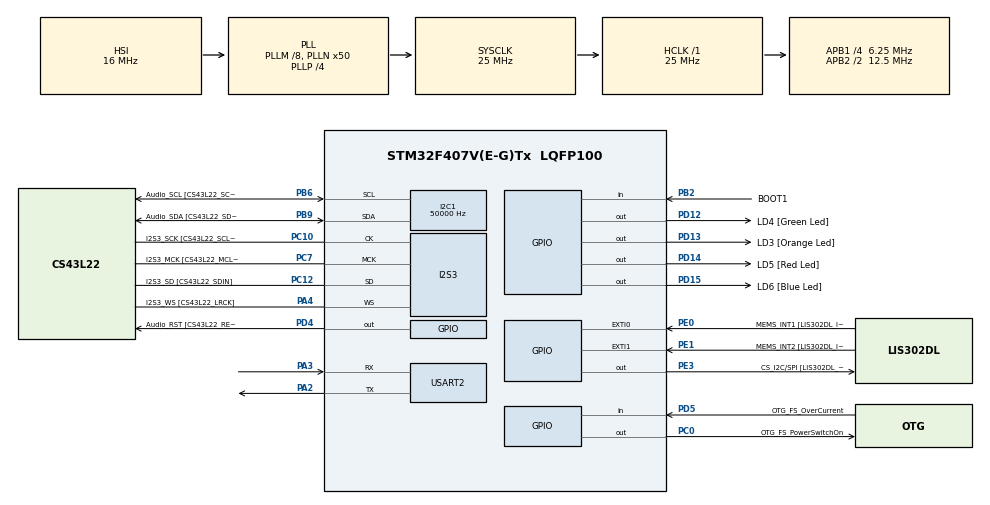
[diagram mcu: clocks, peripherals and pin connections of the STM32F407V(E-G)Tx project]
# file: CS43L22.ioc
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I2C1.ClockSpeed=50000
I2S3.AudioFreq=I2S_AUDIOFREQ_44K
I2S3.ErrorAudioFreq=-2.34 %
I2S3.RealAudioFreq=42.968 KHz
I2S3.Standard=I2S_STANDARD_MSB
Mcu.Family=STM32F4
Mcu.Name=STM32F407V(E-G)Tx
Mcu.Package=LQFP100
NVIC.PriorityGroup=NVIC_PRIORITYGROUP_0
PA10.GPIO_Label=OTG_FS_ID
PA10.GPIO_Mode=GPIO_MODE_AF_PP
PA10.GPIO_PuPd=GPIO_NOPULL
PA10.GPIO_Speed=GPIO_SPEED_FREQ_LOW
PA10.Signal=USB_OTG_FS_ID
PA11.GPIO_Label=OTG_FS_DM
PA11.GPIO_Mode=GPIO_MODE_AF_PP
PA11.GPIO_PuPd=GPIO_NOPULL
PA11.GPIO_Speed=GPIO_SPEED_FREQ_LOW
PA11.Signal=USB_OTG_FS_DM
PA12.GPIO_Label=OTG_FS_DP
PA12.GPIO_Mode=GPIO_MODE_AF_PP
PA12.GPIO_PuPd=GPIO_NOPULL
PA12.GPIO_Speed=GPIO_SPEED_FREQ_LOW
PA12.Signal=USB_OTG_FS_DP
PA13.GPIO_Label=SWDIO
PA13.Signal=SYS_JTMS-SWDIO
PA14.GPIO_Label=SWCLK
PA14.Signal=SYS_JTCK-SWCLK
PA2.Mode=Asynchronous
PA2.Signal=USART2_TX
PA3.Mode=Asynchronous
PA3.Signal=USART2_RX
PA4.GPIO_Label=I2S3_WS [CS43L22_LRCK]
PA4.GPIO_Mode=GPIO_MODE_AF_PP
PA4.GPIO_PuPd=GPIO_NOPULL
PA4.GPIO_Speed=GPIO_SPEED_FREQ_LOW
PA4.Mode=Half_Duplex_Master
PA4.Signal=I2S3_WS
PA5.GPIO_Label=SPI1_SCK [LIS302DL_SCL/SPC]
PA5.GPIO_Mode=GPIO_MODE_AF_PP
PA5.GPIO_PuPd=GPIO_NOPULL
PA5.GPIO_Speed=GPIO_SPEED_FREQ_LOW
PA5.Signal=SPI1_SCK
PA6.GPIO_Label=SPI1_MISO [LIS302DL_SDO]
PA6.GPIO_Mode=GPIO_MODE_AF_PP
PA6.GPIO_PuPd=GPIO_NOPULL
PA6.GPIO_Speed=GPIO_SPEED_FREQ_LOW
PA6.Signal=SPI1_MISO
PA7.GPIO_Label=SPI1_MOSI [LIS302DL_SDA/SDI/SDO]
PA7.GPIO_Mode=GPIO_MODE_AF_PP
PA7.GPIO_PuPd=GPIO_NOPULL
PA7.GPIO_Speed=GPIO_SPEED_FREQ_LOW
PA7.Signal=SPI1_MOSI
PA9.GPIO_Label=VBUS_FS
PA9.GPIO_Mode=GPIO_MODE_INPUT
PA9.GPIO_PuPd=GPIO_NOPULL
PA9.Signal=USB_OTG_FS_VBUS
PB10.GPIO_Label=CLK_IN [MP45DT02_CLK]
PB10.GPIO_Mode=GPIO_MODE_AF_PP
PB10.GPIO_PuPd=GPIO_NOPULL
PB10.GPIO_Speed=GPIO_SPEED_FREQ_LOW
PB10.Signal=I2S2_CK
PB2.GPIO_Label=BOOT1
PB2.GPIO_Mode=GPIO_MODE_INPUT
PB2.GPIO_PuPd=GPIO_NOPULL
PB2.Signal=GPIO_Input
PB3.GPIO_Label=SWO
PB3.Signal=SYS_JTDO-SWO
PB6.GPIO_Label=Audio_SCL [CS43L22_SCL]
PB6.GPIO_Mode=GPIO_MODE_AF_OD
PB6.GPIO_PuPd=GPIO_NOPULL
PB6.GPIO_Speed=GPIO_SPEED_FREQ_LOW
PB6.Mode=I2C
PB6.Signal=I2C1_SCL
PB9.GPIO_Label=Audio_SDA [CS43L22_SDA]
PB9.GPIO_Mode=GPIO_MODE_AF_OD
PB9.GPIO_PuPd=GPIO_NOPULL
PB9.GPIO_Speed=GPIO_SPEED_FREQ_LOW
PB9.Mode=I2C
PB9.Signal=I2C1_SDA
PC0.GPIO_Label=OTG_FS_PowerSwitchOn
PC0.GPIO_PuPd=GPIO_NOPULL
PC0.GPIO_Speed=GPIO_SPEED_FREQ_LOW
PC0.PinState=GPIO_PIN_SET
PC0.Signal=GPIO_Output
PC10.GPIO_Label=I2S3_SCK [CS43L22_SCLK]
PC10.GPIO_Mode=GPIO_MODE_AF_PP
PC10.GPIO_PuPd=GPIO_NOPULL
PC10.GPIO_Speed=GPIO_SPEED_FREQ_LOW
PC10.Mode=Half_Duplex_Master
PC10.Signal=I2S3_CK
PC12.GPIO_Label=I2S3_SD [CS43L22_SDIN]
PC12.GPIO_Mode=GPIO_MODE_AF_PP
PC12.GPIO_PuPd=GPIO_NOPULL
PC12.GPIO_Speed=GPIO_SPEED_FREQ_LOW
PC12.Mode=Half_Duplex_Master
PC12.Signal=I2S3_SD
PC14-OSC32_IN.GPIO_Label=PC14-OSC32_IN
PC14-OSC32_IN.Signal=RCC_OSC32_IN
PC15-OSC32_OUT.GPIO_Label=PC15-OSC32_OUT
PC15-OSC32_OUT.Signal=RCC_OSC32_OUT
PC3.GPIO_Label=PDM_OUT [MP45DT02_DOUT]
PC3.GPIO_Mode=GPIO_MODE_AF_PP
PC3.GPIO_PuPd=GPIO_NOPULL
PC3.GPIO_Speed=GPIO_SPEED_FREQ_LOW
PC3.Signal=I2S2_SD
PC7.GPIO_Label=I2S3_MCK [CS43L22_MCLK]
PC7.GPIO_Mode=GPIO_MODE_AF_PP
PC7.GPIO_PuPd=GPIO_NOPULL
PC7.GPIO_Speed=GPIO_SPEED_FREQ_LOW
PC7.Mode=Master_Clock_Activated
PC7.Signal=I2S3_MCK
PD12.GPIO_Label=LD4 [Green Led]
PD12.GPIO_PuPd=GPIO_NOPULL
PD12.GPIO_Speed=GPIO_SPEED_FREQ_LOW
PD12.Signal=GPIO_Output
PD13.GPIO_Label=LD3 [Orange Led]
PD13.GPIO_PuPd=GPIO_NOPULL
PD13.GPIO_Speed=GPIO_SPEED_FREQ_LOW
PD13.Signal=GPIO_Output
PD14.GPIO_Label=LD5 [Red Led]
PD14.GPIO_PuPd=GPIO_NOPULL
PD14.GPIO_Speed=GPIO_SPEED_FREQ_LOW
PD14.Signal=GPIO_Output
PD15.GPIO_Label=LD6 [Blue Led]
PD15.GPIO_PuPd=GPIO_NOPULL
PD15.GPIO_Speed=GPIO_SPEED_FREQ_LOW
PD15.Signal=GPIO_Output
PD4.GPIO_Label=Audio_RST [CS43L22_RESET]
PD4.GPIO_PuPd=GPIO_NOPULL
PD4.GPIO_Speed=GPIO_SPEED_FREQ_LOW
PD4.Signal=GPIO_Output
PD5.GPIO_Label=OTG_FS_OverCurrent
PD5.GPIO_Mode=GPIO_MODE_INPUT
PD5.GPIO_PuPd=GPIO_NOPULL
PD5.Signal=GPIO_Input
PE0.GPIO_Label=MEMS_INT1 [LIS302DL_INT1]
PE0.Signal=GPXTI0
PE1.GPIO_Label=MEMS_INT2 [LIS302DL_INT2]
PE1.GPIO_ModeDefaultEXTI=GPIO_MODE_EVT_RISING
PE1.GPIO_PuPd=GPIO_NOPULL
PE1.Signal=GPXTI1
PE3.GPIO_Label=CS_I2C/SPI [LIS302DL_CS_I2C/SPI]
PE3.GPIO_PuPd=GPIO_NOPULL
PE3.GPIO_Speed=GPIO_SPEED_FREQ_LOW
PE3.Signal=GPIO_Output
PH0-OSC_IN.GPIO_Label=PH0-OSC_IN
PH0-OSC_IN.Signal=RCC_OSC_IN
PH1-OSC_OUT.GPIO_Label=PH1-OSC_OUT
PH1-OSC_OUT.Signal=RCC_OSC_OUT
ProjectManager.HeapSize=0x200
ProjectManager.StackSize=0x400
ProjectManager.TargetToolchain=SW4STM32
RCC.48MHZClocksFreq_Value=14285714.285714285
RCC.AHBFreq_Value=25000000
RCC.APB1CLKDivider=RCC_HCLK_DIV4
RCC.APB1Freq_Value=6250000
RCC.APB1TimFreq_Value=12500000
RCC.APB2CLKDivider=RCC_HCLK_DIV2
RCC.APB2Freq_Value=12500000
RCC.APB2TimFreq_Value=25000000
RCC.CortexFreq_Value=25000000
RCC.HCLKFreq_Value=25000000
RCC.HSE_VALUE=8000000
RCC.HSI_VALUE=16000000
RCC.LSE_VALUE=32768
RCC.PLLI2SN=88
RCC.PLLI2SR=4
RCC.PLLM=8
RCC.PLLN=50
RCC.PLLP=RCC_PLLP_DIV4
RCC.PLLQ=7
RCC.SYSCLKFreq_VALUE=25000000
RCC.SYSCLKSource=RCC_SYSCLKSOURCE_PLLCLK
RCC.VCOOutputFreq_Value=100000000
TIM1.Period=0
TIM1.Prescaler=0
VP_TIM1_VS_ClockSourceINT.Mode=Internal
board=STM32F407G-DISC1

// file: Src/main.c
/**
 ******************************************************************************
 * File Name          : main.c
 * Description        : Main program body
 ******************************************************************************
 *
 * COPYRIGHT(c) 2016 STMicroelectronics
 *
 * Redistribution and use in source and binary forms, with or without modification,
 * are permitted provided that the following conditions are met:
 *   1. Redistributions of source code must retain the above copyright notice,
 *      this list of conditions and the following disclaimer.
 *   2. Redistributions in binary form must reproduce the above copyright notice,
 *      this list of conditions and the following disclaimer in the documentation
 *      and/or other materials provided with the distribution.
 *   3. Neither the name of STMicroelectronics nor the names of its contributors
 *      may be used to endorse or promote products derived from this software
 *      without specific prior written permission.
 *
 * THIS SOFTWARE IS PROVIDED BY THE COPYRIGHT HOLDERS AND CONTRIBUTORS "AS IS"
 * AND ANY EXPRESS OR IMPLIED WARRANTIES, INCLUDING, BUT NOT LIMITED TO, THE
 * IMPLIED WARRANTIES OF MERCHANTABILITY AND FITNESS FOR A PARTICULAR PURPOSE ARE
 * DISCLAIMED. IN NO EVENT SHALL THE COPYRIGHT HOLDER OR CONTRIBUTORS BE LIABLE
 * FOR ANY DIRECT, INDIRECT, INCIDENTAL, SPECIAL, EXEMPLARY, OR CONSEQUENTIAL
 * DAMAGES (INCLUDING, BUT NOT LIMITED TO, PROCUREMENT OF SUBSTITUTE GOODS OR
 * SERVICES; LOSS OF USE, DATA, OR PROFITS; OR BUSINESS INTERRUPTION) HOWEVER
 * CAUSED AND ON ANY THEORY OF LIABILITY, WHETHER IN CONTRACT, STRICT LIABILITY,
 * OR TORT (INCLUDING NEGLIGENCE OR OTHERWISE) ARISING IN ANY WAY OUT OF THE USE
 * OF THIS SOFTWARE, EVEN IF ADVISED OF THE POSSIBILITY OF SUCH DAMAGE.
 *
 ******************************************************************************
 */
#include "main.h"
#include "stm32f4xx_hal.h"

/* USER CODE BEGIN Includes */
#define SPEAKER_RESET_GPIO_TYPE GPIOD
#define SPEAKER_RESET_GPIO_PIN_NUMBER GPIO_PIN_4
#define DELAY_DURATION 500
#define I2C_TIMEOUT 50
#define UART_TIMEOUT 100
#define BEAT 100
/* USER CODE END Includes */

I2C_HandleTypeDef hi2c1;

I2S_HandleTypeDef hi2s3;

TIM_HandleTypeDef htim1;

UART_HandleTypeDef huart2;

/* USER CODE BEGIN PV */
/* Private variables ---------------------------------------------------------*/

/* USER CODE END PV */

void SystemClock_Config(void);
void Error_Handler(void);
static void MX_GPIO_Init(void);
static void MX_I2C1_Init(void);
static void MX_I2S3_Init(void);
static void MX_TIM1_Init(void);
static void MX_USART2_UART_Init(void);

/* USER CODE BEGIN PFP */
/* Private function prototypes -----------------------------------------------*/
void play_musical_note(int index);
void play_musical_note_with_beat(int index, float beat);
void write_to_speaker_reg(uint8_t address, uint8_t data);
void speaker_init();
void send_data_via_uart(char *data);
/* USER CODE END PFP */

/* USER CODE BEGIN 0 */

float clock = 40e-9;
float bpm = 108;
uint8_t musical_note[] = { 0x0A, 0x1A, 0x2A, 0x3A, 0x4A, 0x5A, 0x6A, 0x7A, 0x8A,
		0x9A, 0xAA, 0xBA, 0xCA, 0xDA, 0xEA, 0xFA };
// C5 to C7

int is_playing = 0;

/* USER CODE END 0 */

int main(void) {

	/* USER CODE BEGIN 1 */
	int number_of_note = 16;
	int note[] = { 9, 8, 6, 9, 5, 9, 8, 9, 5, -1, -1, 6, -1, 6, 8, 9 };
	float beat[] = { 0.25, 0.25, 0.5, 0.5, 0.5, 0.5, 0.5, 0.5, 0.5, 1.0, 0.5, 0.5,
			0.5, 0.5, 0.5, 0.5 };
	/* USER CODE END 1 */

	/* MCU Configuration----------------------------------------------------------*/

	/* Reset of all peripherals, Initializes the Flash interface and the Systick. */
	HAL_Init();

	/* Configure the system clock */
	SystemClock_Config();

	/* Initialize all configured peripherals */
	MX_GPIO_Init();
	MX_I2C1_Init();
	MX_I2S3_Init();
	MX_TIM1_Init();
	MX_USART2_UART_Init();

	/* USER CODE BEGIN 2 */

	speaker_init();

	int i = 0;

	/* USER CODE END 2 */

	/* Infinite loop */
	while (1) {

		/* USER CODE BEGIN 3 */
		uint8_t data;
		if(HAL_UART_Receive(&huart2, &data, 1, UART_TIMEOUT) == HAL_OK) {
			play_musical_note(note[i]);
			i = (i + 1) % number_of_note;
		}
//		if (!is_playing) {
//			is_playing = 1;
//			play_musical_note_with_beat(note[i], beat[i]);
//			i = (i + 1) % number_of_note;
//		}
	}
	/* USER CODE END 3 */

}

/** System Clock Configuration
 */
void SystemClock_Config(void) {

	RCC_OscInitTypeDef RCC_OscInitStruct;
	RCC_ClkInitTypeDef RCC_ClkInitStruct;
	RCC_PeriphCLKInitTypeDef PeriphClkInitStruct;

	/**Configure the main internal regulator output voltage
	 */
	__HAL_RCC_PWR_CLK_ENABLE()
	;

	__HAL_PWR_VOLTAGESCALING_CONFIG(PWR_REGULATOR_VOLTAGE_SCALE1);

	/**Initializes the CPU, AHB and APB busses clocks
	 */
	RCC_OscInitStruct.OscillatorType = RCC_OSCILLATORTYPE_HSI;
	RCC_OscInitStruct.HSIState = RCC_HSI_ON;
	RCC_OscInitStruct.HSICalibrationValue = 16;
	RCC_OscInitStruct.PLL.PLLState = RCC_PLL_ON;
	RCC_OscInitStruct.PLL.PLLSource = RCC_PLLSOURCE_HSI;
	RCC_OscInitStruct.PLL.PLLM = 8;
	RCC_OscInitStruct.PLL.PLLN = 50;
	RCC_OscInitStruct.PLL.PLLP = RCC_PLLP_DIV4;
	RCC_OscInitStruct.PLL.PLLQ = 7;
	if (HAL_RCC_OscConfig(&RCC_OscInitStruct) != HAL_OK) {
		Error_Handler();
	}

	/**Initializes the CPU, AHB and APB busses clocks
	 */
	RCC_ClkInitStruct.ClockType = RCC_CLOCKTYPE_HCLK | RCC_CLOCKTYPE_SYSCLK
			| RCC_CLOCKTYPE_PCLK1 | RCC_CLOCKTYPE_PCLK2;
	RCC_ClkInitStruct.SYSCLKSource = RCC_SYSCLKSOURCE_PLLCLK;
	RCC_ClkInitStruct.AHBCLKDivider = RCC_SYSCLK_DIV1;
	RCC_ClkInitStruct.APB1CLKDivider = RCC_HCLK_DIV4;
	RCC_ClkInitStruct.APB2CLKDivider = RCC_HCLK_DIV2;

	if (HAL_RCC_ClockConfig(&RCC_ClkInitStruct, FLASH_LATENCY_0) != HAL_OK) {
		Error_Handler();
	}

	PeriphClkInitStruct.PeriphClockSelection = RCC_PERIPHCLK_I2S;
	PeriphClkInitStruct.PLLI2S.PLLI2SN = 88;
	PeriphClkInitStruct.PLLI2S.PLLI2SR = 4;
	if (HAL_RCCEx_PeriphCLKConfig(&PeriphClkInitStruct) != HAL_OK) {
		Error_Handler();
	}

	/**Configure the Systick interrupt time
	 */
	HAL_SYSTICK_Config(HAL_RCC_GetHCLKFreq() / 1000);

	/**Configure the Systick
	 */
	HAL_SYSTICK_CLKSourceConfig(SYSTICK_CLKSOURCE_HCLK);

	/* SysTick_IRQn interrupt configuration */
	HAL_NVIC_SetPriority(SysTick_IRQn, 0, 0);
}

/* I2C1 init function */
static void MX_I2C1_Init(void) {

	hi2c1.Instance = I2C1;
	hi2c1.Init.ClockSpeed = 50000;
	hi2c1.Init.DutyCycle = I2C_DUTYCYCLE_2;
	hi2c1.Init.OwnAddress1 = 0;
	hi2c1.Init.AddressingMode = I2C_ADDRESSINGMODE_7BIT;
	hi2c1.Init.DualAddressMode = I2C_DUALADDRESS_DISABLE;
	hi2c1.Init.OwnAddress2 = 0;
	hi2c1.Init.GeneralCallMode = I2C_GENERALCALL_DISABLE;
	hi2c1.Init.NoStretchMode = I2C_NOSTRETCH_DISABLE;
	if (HAL_I2C_Init(&hi2c1) != HAL_OK) {
		Error_Handler();
	}

}

/* I2S3 init function */
static void MX_I2S3_Init(void) {

	hi2s3.Instance = SPI3;
	hi2s3.Init.Mode = I2S_MODE_MASTER_TX;
	hi2s3.Init.Standard = I2S_STANDARD_MSB;
	hi2s3.Init.DataFormat = I2S_DATAFORMAT_16B;
	hi2s3.Init.MCLKOutput = I2S_MCLKOUTPUT_ENABLE;
	hi2s3.Init.AudioFreq = I2S_AUDIOFREQ_44K;
	hi2s3.Init.CPOL = I2S_CPOL_LOW;
	hi2s3.Init.ClockSource = I2S_CLOCK_PLL;
	hi2s3.Init.FullDuplexMode = I2S_FULLDUPLEXMODE_DISABLE;
	if (HAL_I2S_Init(&hi2s3) != HAL_OK) {
		Error_Handler();
	}

}

/* TIM1 init function */
static void MX_TIM1_Init(void) {

	TIM_ClockConfigTypeDef sClockSourceConfig;
	TIM_MasterConfigTypeDef sMasterConfig;

	htim1.Instance = TIM1;
	htim1.Init.Prescaler = 0;
	htim1.Init.CounterMode = TIM_COUNTERMODE_UP;
	htim1.Init.Period = 0;
	htim1.Init.ClockDivision = TIM_CLOCKDIVISION_DIV1;
	htim1.Init.RepetitionCounter = 0;
	if (HAL_TIM_Base_Init(&htim1) != HAL_OK) {
		Error_Handler();
	}

	sClockSourceConfig.ClockSource = TIM_CLOCKSOURCE_INTERNAL;
	if (HAL_TIM_ConfigClockSource(&htim1, &sClockSourceConfig) != HAL_OK) {
		Error_Handler();
	}

	sMasterConfig.MasterOutputTrigger = TIM_TRGO_RESET;
	sMasterConfig.MasterSlaveMode = TIM_MASTERSLAVEMODE_DISABLE;
	if (HAL_TIMEx_MasterConfigSynchronization(&htim1, &sMasterConfig) != HAL_OK) {
		Error_Handler();
	}

}

/* USART2 init function */
static void MX_USART2_UART_Init(void) {

	huart2.Instance = USART2;
	huart2.Init.BaudRate = 115200;
	huart2.Init.WordLength = UART_WORDLENGTH_8B;
	huart2.Init.StopBits = UART_STOPBITS_1;
	huart2.Init.Parity = UART_PARITY_NONE;
	huart2.Init.Mode = UART_MODE_TX_RX;
	huart2.Init.HwFlowCtl = UART_HWCONTROL_NONE;
	huart2.Init.OverSampling = UART_OVERSAMPLING_16;
	if (HAL_UART_Init(&huart2) != HAL_OK) {
		Error_Handler();
	}

}

/** Configure pins as
 * Analog
 * Input
 * Output
 * EVENT_OUT
 * EXTI
 PC3   ------> I2S2_SD
 PA5   ------> SPI1_SCK
 PA6   ------> SPI1_MISO
 PA7   ------> SPI1_MOSI
 PB10   ------> I2S2_CK
 PA9   ------> USB_OTG_FS_VBUS
 PA10   ------> USB_OTG_FS_ID
 PA11   ------> USB_OTG_FS_DM
 PA12   ------> USB_OTG_FS_DP
 */
static void MX_GPIO_Init(void) {

	GPIO_InitTypeDef GPIO_InitStruct;

	/* GPIO Ports Clock Enable */
	__HAL_RCC_GPIOE_CLK_ENABLE()
	;
	__HAL_RCC_GPIOC_CLK_ENABLE()
	;
	__HAL_RCC_GPIOH_CLK_ENABLE()
	;
	__HAL_RCC_GPIOA_CLK_ENABLE()
	;
	__HAL_RCC_GPIOB_CLK_ENABLE()
	;
	__HAL_RCC_GPIOD_CLK_ENABLE()
	;

	/*Configure GPIO pin Output Level */
	HAL_GPIO_WritePin(CS_I2C_SPI_GPIO_Port, CS_I2C_SPI_Pin, GPIO_PIN_RESET);

	/*Configure GPIO pin Output Level */
	HAL_GPIO_WritePin(OTG_FS_PowerSwitchOn_GPIO_Port, OTG_FS_PowerSwitchOn_Pin,
			GPIO_PIN_SET);

	/*Configure GPIO pin Output Level */
	HAL_GPIO_WritePin(GPIOD,
			LD4_Pin | LD3_Pin | LD5_Pin | LD6_Pin | Audio_RST_Pin, GPIO_PIN_RESET);

	/*Configure GPIO pin : CS_I2C_SPI_Pin */
	GPIO_InitStruct.Pin = CS_I2C_SPI_Pin;
	GPIO_InitStruct.Mode = GPIO_MODE_OUTPUT_PP;
	GPIO_InitStruct.Pull = GPIO_NOPULL;
	GPIO_InitStruct.Speed = GPIO_SPEED_FREQ_LOW;
	HAL_GPIO_Init(CS_I2C_SPI_GPIO_Port, &GPIO_InitStruct);

	/*Configure GPIO pin : OTG_FS_PowerSwitchOn_Pin */
	GPIO_InitStruct.Pin = OTG_FS_PowerSwitchOn_Pin;
	GPIO_InitStruct.Mode = GPIO_MODE_OUTPUT_PP;
	GPIO_InitStruct.Pull = GPIO_NOPULL;
	GPIO_InitStruct.Speed = GPIO_SPEED_FREQ_LOW;
	HAL_GPIO_Init(OTG_FS_PowerSwitchOn_GPIO_Port, &GPIO_InitStruct);

	/*Configure GPIO pin : PDM_OUT_Pin */
	GPIO_InitStruct.Pin = PDM_OUT_Pin;
	GPIO_InitStruct.Mode = GPIO_MODE_AF_PP;
	GPIO_InitStruct.Pull = GPIO_NOPULL;
	GPIO_InitStruct.Speed = GPIO_SPEED_FREQ_LOW;
	GPIO_InitStruct.Alternate = GPIO_AF5_SPI2;
	HAL_GPIO_Init(PDM_OUT_GPIO_Port, &GPIO_InitStruct);

	/*Configure GPIO pins : PA5 PA6 PA7 */
	GPIO_InitStruct.Pin = GPIO_PIN_5 | GPIO_PIN_6 | GPIO_PIN_7;
	GPIO_InitStruct.Mode = GPIO_MODE_AF_PP;
	GPIO_InitStruct.Pull = GPIO_NOPULL;
	GPIO_InitStruct.Speed = GPIO_SPEED_FREQ_LOW;
	GPIO_InitStruct.Alternate = GPIO_AF5_SPI1;
	HAL_GPIO_Init(GPIOA, &GPIO_InitStruct);

	/*Configure GPIO pin : BOOT1_Pin */
	GPIO_InitStruct.Pin = BOOT1_Pin;
	GPIO_InitStruct.Mode = GPIO_MODE_INPUT;
	GPIO_InitStruct.Pull = GPIO_NOPULL;
	HAL_GPIO_Init(BOOT1_GPIO_Port, &GPIO_InitStruct);

	/*Configure GPIO pin : CLK_IN_Pin */
	GPIO_InitStruct.Pin = CLK_IN_Pin;
	GPIO_InitStruct.Mode = GPIO_MODE_AF_PP;
	GPIO_InitStruct.Pull = GPIO_NOPULL;
	GPIO_InitStruct.Speed = GPIO_SPEED_FREQ_LOW;
	GPIO_InitStruct.Alternate = GPIO_AF5_SPI2;
	HAL_GPIO_Init(CLK_IN_GPIO_Port, &GPIO_InitStruct);

	/*Configure GPIO pins : LD4_Pin LD3_Pin LD5_Pin LD6_Pin
	 Audio_RST_Pin */
	GPIO_InitStruct.Pin = LD4_Pin | LD3_Pin | LD5_Pin | LD6_Pin | Audio_RST_Pin;
	GPIO_InitStruct.Mode = GPIO_MODE_OUTPUT_PP;
	GPIO_InitStruct.Pull = GPIO_NOPULL;
	GPIO_InitStruct.Speed = GPIO_SPEED_FREQ_LOW;
	HAL_GPIO_Init(GPIOD, &GPIO_InitStruct);

	/*Configure GPIO pin : VBUS_FS_Pin */
	GPIO_InitStruct.Pin = VBUS_FS_Pin;
	GPIO_InitStruct.Mode = GPIO_MODE_INPUT;
	GPIO_InitStruct.Pull = GPIO_NOPULL;
	HAL_GPIO_Init(VBUS_FS_GPIO_Port, &GPIO_InitStruct);

	/*Configure GPIO pins : OTG_FS_ID_Pin OTG_FS_DM_Pin OTG_FS_DP_Pin */
	GPIO_InitStruct.Pin = OTG_FS_ID_Pin | OTG_FS_DM_Pin | OTG_FS_DP_Pin;
	GPIO_InitStruct.Mode = GPIO_MODE_AF_PP;
	GPIO_InitStruct.Pull = GPIO_NOPULL;
	GPIO_InitStruct.Speed = GPIO_SPEED_FREQ_LOW;
	GPIO_InitStruct.Alternate = GPIO_AF10_OTG_FS;
	HAL_GPIO_Init(GPIOA, &GPIO_InitStruct);

	/*Configure GPIO pin : OTG_FS_OverCurrent_Pin */
	GPIO_InitStruct.Pin = OTG_FS_OverCurrent_Pin;
	GPIO_InitStruct.Mode = GPIO_MODE_INPUT;
	GPIO_InitStruct.Pull = GPIO_NOPULL;
	HAL_GPIO_Init(OTG_FS_OverCurrent_GPIO_Port, &GPIO_InitStruct);

	/*Configure GPIO pin : MEMS_INT1_Pin */
	GPIO_InitStruct.Pin = MEMS_INT1_Pin;
	GPIO_InitStruct.Mode = GPIO_MODE_IT_RISING;
	GPIO_InitStruct.Pull = GPIO_NOPULL;
	HAL_GPIO_Init(MEMS_INT1_GPIO_Port, &GPIO_InitStruct);

	/*Configure GPIO pin : MEMS_INT2_Pin */
	GPIO_InitStruct.Pin = MEMS_INT2_Pin;
	GPIO_InitStruct.Mode = GPIO_MODE_EVT_RISING;
	GPIO_InitStruct.Pull = GPIO_NOPULL;
	HAL_GPIO_Init(MEMS_INT2_GPIO_Port, &GPIO_InitStruct);

}

/* USER CODE BEGIN 4 */

void play_musical_note(int index) {
	if (index < -1 || index > 15) {
		return;
	}

	if (index == -1) {
		int i;
		for (i = 0; i < BEAT; i++);
		return;
	}

	HAL_GPIO_TogglePin(GPIOD, GPIO_PIN_15);

	// Beep Mix Disable: disable
	write_to_speaker_reg(0x1E, 0x20);
	write_to_speaker_reg(0x1C, musical_note[index]);
	// Beep Configuration: continuous
	write_to_speaker_reg(0x1E, 0xE0);

	int i;
	for (i = 0; i < BEAT; i++) {
		HAL_I2S_Transmit(&hi2s3, (uint16_t *) "a", 100, I2C_TIMEOUT);
	}
}

void play_musical_note_with_beat(int index, float beat) {
	if (index < -1 || index > 15) {
		is_playing = 0;
		return;
	}

	int cycles_compromise = (int) (beat * 600);
	if (index == -1) {
		int i;
		for (i = 0; i < cycles_compromise; i++)
			;
		is_playing = 0;
		return;
	}

	HAL_GPIO_TogglePin(GPIOD, GPIO_PIN_15);

	// Beep Mix Disable: disable
	write_to_speaker_reg(0x1E, 0x20);
	write_to_speaker_reg(0x1C, musical_note[index]);
	// Beep Configuration: continuous
	write_to_speaker_reg(0x1E, 0xE0);

	int i;
	// Beats
	// int cycles = (int) (beat * ((60 / bpm) / clock));
	for (i = 0; i < cycles_compromise; i++) {
		HAL_I2S_Transmit(&hi2s3, (uint16_t *) "a", 100, I2C_TIMEOUT);
	}
	is_playing = 0;
}

void write_to_speaker_reg(uint8_t address, uint8_t data) {
	// Chip address: 100101 followed by the setting of the AD0 pin (0) and R/W bit
	uint8_t chip_address = 0b10010100;
	uint8_t data_concat[2];
	data_concat[0] = address;
	data_concat[1] = data;
	HAL_I2C_Master_Transmit(&hi2c1, chip_address, data_concat, 2, I2C_TIMEOUT);
}

void speaker_init() {
	// Reset
	HAL_GPIO_WritePin(SPEAKER_RESET_GPIO_TYPE, SPEAKER_RESET_GPIO_PIN_NUMBER,
			GPIO_PIN_RESET);
	HAL_Delay(DELAY_DURATION);
	HAL_GPIO_WritePin(SPEAKER_RESET_GPIO_TYPE, SPEAKER_RESET_GPIO_PIN_NUMBER,
			GPIO_PIN_SET);
	HAL_Delay(DELAY_DURATION);

	// Load the required initialization settings according to section 4.11 in data sheet
	write_to_speaker_reg(0x00, 0x99);
	write_to_speaker_reg(0x47, 0x80);
	write_to_speaker_reg(0x32, 0x80);
	write_to_speaker_reg(0x32, 0x00);
	write_to_speaker_reg(0x00, 0x00);

	// Beep & Tone Configuration: set BEEP[1:0] to 11 (continuous)
	write_to_speaker_reg(0x1E, 0xC0);

	// Ear pod
	write_to_speaker_reg(0x1D, 0x16);

	// Set the “Power Ctl 1” register (0x02) to 0x9E
	write_to_speaker_reg(0x02, 0x9E);
}

/**
 * @brief  Send data via UART.
 * @param  data: data to be sent
 * @retval None
 */
void send_data_via_uart(char *data) {
	int i = 0;
	while (data[i] != '\0') {
		HAL_UART_Transmit(&huart2, (uint8_t *) &data[i++], 1, UART_TIMEOUT);
	}
}

/* USER CODE END 4 */

void Error_Handler(void) {
	while (1) {
	}
}

/************************ (C) COPYRIGHT STMicroelectronics *****END OF FILE****/
